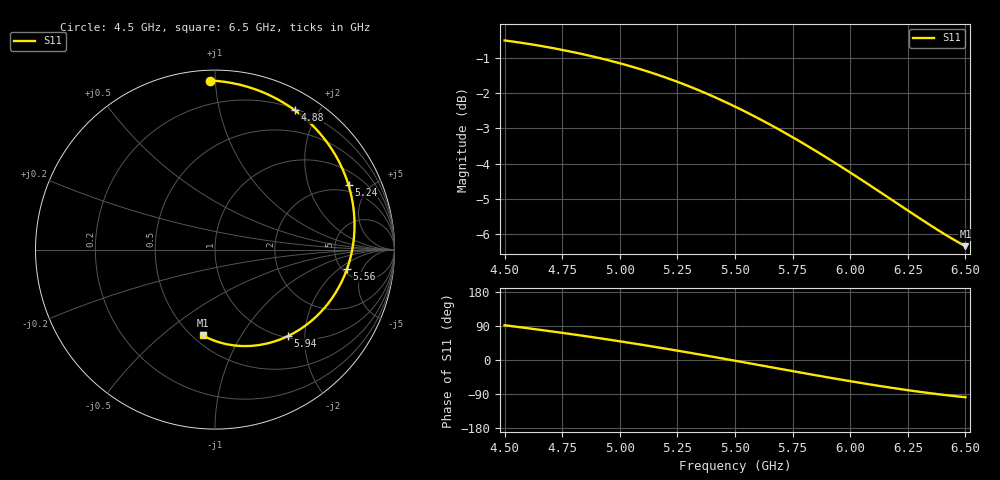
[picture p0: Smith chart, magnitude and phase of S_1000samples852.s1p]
! TOUCHSTONE file generated by CST MICROWAVE STUDIO
! Date and time: Sat Oct 29 14:43:19 2022
! Project name: L.cst
! Parameters = {Di=1.27; Epsilon_r=1.56; InnerDiameter=1.27; Length=2; Lf=10; Lg=60; OuterConductorThickness=0.2921; OuterDiameter=3.6; Wf=3; Wp=41.2; de=1.5; df=6.8; g=0.8; gx=1.5902; gy=4.13828; h=2.34; hf=1.524; px=10.592; py=8.34045; w=9.7; wx=9.00176; wy=4.20216}
! Header version: 2018
! Port assignment regex: !\s*Touchstone port\s*([0-9]+)\s*=\s*(CST MWS port|CST DS port)\s*([0-9]+|Zmin|Zmax)\s*\(\"(.*)\"\)(\s*mode\s*([0-9]+))?.*
! Touchstone port assignment:
! Touchstone port 1 = CST MWS port 1 ("")
# GHz S DB R 50
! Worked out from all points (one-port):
!   101 points, 4.5 GHz to 6.5 GHz, reference 50 ohm
!   lowest |S11| = -6.3 dB at 6.5 GHz (marker M1), VSWR 2.86, Z = 28 - j34.8 ohm
!   |S11| at or under -10 dB: nowhere
!   S11 on the Smith chart (normalised r, x): 4.5 GHz: 0.06, +0.97; 4.88 GHz: 0.22, +1.70; 5.24 GHz: 1.64, +3.70; 5.56 GHz: 5.45, -2.66; 5.94 GHz: 1.03, -1.65; 6.5 GHz: 0.56, -0.70
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4.5  -0.51 91.7
4.58  -0.59 85.5
4.64  -0.65 80.7
4.7  -0.72 75.8
4.76  -0.79 70.8
4.82  -0.88 65.6
4.88  -0.96 60.3
5  -1.16 49.3
5.12  -1.39 37.8
5.18  -1.52 31.8
5.24  -1.66 25.7
5.26  -1.71 23.6
5.32  -1.86 17.4
5.38  -2.03 11.0
5.44  -2.20 4.6
5.5  -2.39 -1.9
5.56  -2.58 -8.5
5.66  -2.92 -19.4
5.76  -3.29 -30.4
5.86  -3.68 -41.2
5.94  -4.00 -49.7
6  -4.25 -55.9
6.06  -4.51 -61.9
6.12  -4.76 -67.8
6.18  -5.02 -73.4
6.26  -5.37 -80.5
6.38  -5.88 -90.1
6.5  -6.34 -98.3
